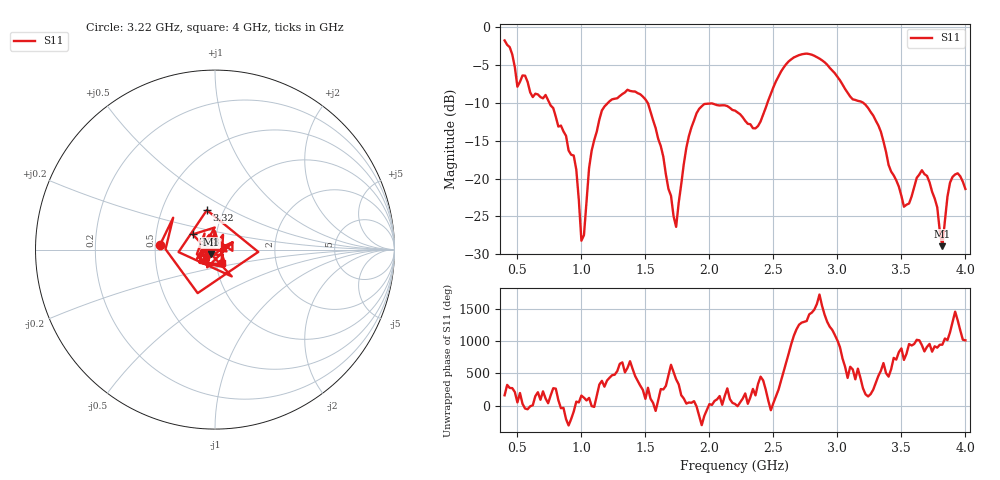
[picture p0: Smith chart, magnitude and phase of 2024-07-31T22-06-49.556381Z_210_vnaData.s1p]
!Created with skrf (http://scikit-rf.org).
# Hz S RI R 50.0
!freq ReS11 ImS11
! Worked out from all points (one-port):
!   181 points, 400 MHz to 4 GHz, reference 50 ohm
!   lowest |S11| = -29.0 dB at 3.82 GHz (marker M1), VSWR 1.07, Z = 47.6 - j2.52 ohm
!   |S11| at or under -10 dB: 750.5 MHz to 1.207 GHz (456.3 MHz wide, 46.6 % of centre); 1.519 GHz to 2.453 GHz (934.5 MHz wide, 47.1 % of centre); 3.203 GHz to end of sweep
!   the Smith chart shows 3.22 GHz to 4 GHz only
!   S11 on the Smith chart (normalised r, x): 3.22 GHz: 0.53, +0.03; 3.32 GHz: 0.83, +0.39; 3.38 GHz: 0.77, +0.13; 4 GHz: 1.07, -0.16
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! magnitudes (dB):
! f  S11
! 400 MHz  -1.7
! 500 MHz  -7.8
! 720 MHz  -8.9
! 860 MHz  -13.8
! 960 MHz  -18.8
! 1 GHz  -28.2
! 1.02 GHz  -27.5
! 1.08 GHz  -16.3
! 1.14 GHz  -12.2
! 1.3 GHz  -9.1
! 1.52 GHz  -10.0
! 1.74 GHz  -26.4
! 1.76 GHz  -23.2
! 1.82 GHz  -15.9
! 1.92 GHz  -10.8
! 2.2 GHz  -11.0
! 2.36 GHz  -13.4
! 2.66 GHz  -4.0
! 2.88 GHz  -4.3
! 3.1 GHz  -9.1
! 3.22 GHz  -10.2
! 3.32 GHz  -13.0
! 3.38 GHz  -16.5
! 3.56 GHz  -23.3
! 3.7 GHz  -19.6
! 3.82 GHz  -29.0
! 3.88 GHz  -20.5
! 4 GHz  -21.4
